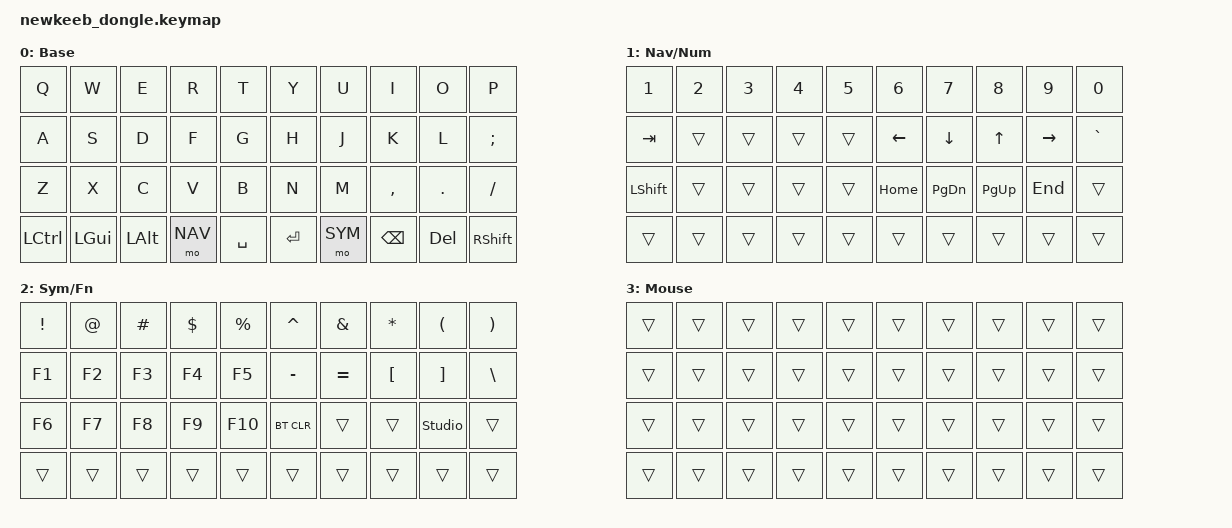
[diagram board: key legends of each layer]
/*
 * newKeeb unified keymap. Lives on the DONGLE (central); the peripherals need no
 * keymap. 4 rows x 10 cols. Positions run left-half cols 0-4 then right-half cols
 * 5-9, row by row. Bottom row (row3) is the thumb/mod row.
 *
 * Starting layout - get the matrix scanning first, then remap to taste.
 */

#include <behaviors.dtsi>
#include <dt-bindings/zmk/keys.h>
#include <dt-bindings/zmk/bt.h>
#include <dt-bindings/zmk/pointing.h>

#define BASE  0
#define NAV   1
#define SYM   2
#define MOUSE 3

/ {
    keymap {
        compatible = "zmk,keymap";
        physical-layout = &newkeeb_physical_layout;

        base_layer {
            display-name = "Base";
            bindings = <
   &kp Q      &kp W    &kp E    &kp R    &kp T          &kp Y    &kp U    &kp I     &kp O    &kp P
   &kp A      &kp S    &kp D    &kp F    &kp G          &kp H    &kp J    &kp K     &kp L    &kp SEMI
   &kp Z      &kp X    &kp C    &kp V    &kp B          &kp N    &kp M    &kp COMMA &kp DOT  &kp FSLH
   &kp LCTRL  &kp LGUI &kp LALT &mo NAV  &kp SPACE      &kp RET  &mo SYM  &kp BSPC  &kp DEL  &kp RSHFT
            >;
        };

        nav_layer {
            display-name = "Nav/Num";
            bindings = <
   &kp N1     &kp N2   &kp N3   &kp N4   &kp N5         &kp N6   &kp N7   &kp N8    &kp N9   &kp N0
   &kp TAB    &trans   &trans   &trans   &trans         &kp LEFT &kp DOWN &kp UP    &kp RIGHT &kp GRAVE
   &kp LSHFT  &trans   &trans   &trans   &trans         &kp HOME &kp PG_DN &kp PG_UP &kp END &trans
   &trans     &trans   &trans   &trans   &trans         &trans   &trans   &trans    &trans   &trans
            >;
        };

        sym_layer {
            display-name = "Sym/Fn";
            bindings = <
   &kp EXCL   &kp AT   &kp HASH &kp DLLR &kp PRCNT      &kp CARET &kp AMPS &kp STAR &kp LPAR &kp RPAR
   &kp F1     &kp F2   &kp F3   &kp F4   &kp F5         &kp MINUS &kp EQUAL &kp LBKT &kp RBKT &kp BSLH
   &kp F6     &kp F7   &kp F8   &kp F9   &kp F10        &bt BT_CLR &trans   &trans   &studio_unlock &trans
   &trans     &trans   &trans   &trans   &trans         &trans   &trans   &trans    &trans   &trans
            >;
        };

        /*
         * MOUSE layer - passthrough, like the old ergo build. Auto-activated by
         * the right trackpad (&zip_temp_layer in newkeeb_dongle.overlay), so the
         * dongle screen shows "Mouse" while the pad is in use and every key still
         * passes through to the base layer. Put click bindings here (or on base)
         * whenever you want them; edit live in ZMK Studio.
         */
        mouse_layer {
            display-name = "Mouse";
            bindings = <
   &trans     &trans   &trans   &trans   &trans         &trans   &trans   &trans    &trans   &trans
   &trans     &trans   &trans   &trans   &trans         &trans   &trans   &trans    &trans   &trans
   &trans     &trans   &trans   &trans   &trans         &trans   &trans   &trans    &trans   &trans
   &trans     &trans   &trans   &trans   &trans         &trans   &trans   &trans    &trans   &trans
            >;
        };
    };
};
